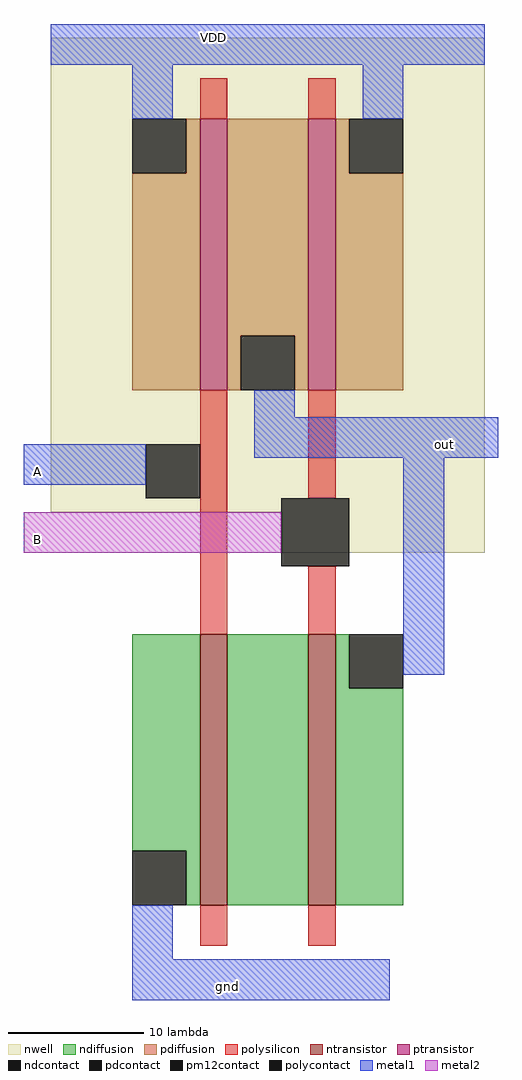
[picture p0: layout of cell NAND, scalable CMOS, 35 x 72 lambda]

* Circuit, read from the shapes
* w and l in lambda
.subckt NAND A B VDD gnd out
M1 n1 A gnd VSUBS nfet w=20 l=2
M2 out B n1 VSUBS nfet w=20 l=2
M3 out A VDD n2 pfet w=20 l=2
M4 VDD B out n2 pfet w=20 l=2
.ends

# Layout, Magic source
magic
tech scmos
<< nwell >>
rect -4 -14 28 21
rect 13 -17 28 -14
<< ntransistor >>
rect 7 -43 9 -23
rect 15 -43 17 -23
<< ptransistor >>
rect 7 -5 9 15
rect 15 -5 17 15
<< ndiffusion >>
rect 2 -39 7 -23
rect 6 -43 7 -39
rect 9 -43 15 -23
rect 17 -27 18 -23
rect 17 -43 22 -27
<< pdiffusion >>
rect 6 11 7 15
rect 2 -5 7 11
rect 9 -1 15 15
rect 9 -5 10 -1
rect 14 -5 15 -1
rect 17 11 18 15
rect 17 -5 22 11
<< ndcontact >>
rect 2 -43 6 -39
rect 18 -27 22 -23
<< pdcontact >>
rect 2 11 6 15
rect 10 -5 14 -1
rect 18 11 22 15
<< polysilicon >>
rect 7 15 9 18
rect 15 15 17 18
rect 7 -23 9 -5
rect 15 -13 17 -5
rect 15 -23 17 -18
rect 7 -46 9 -43
rect 15 -46 17 -43
<< polycontact >>
rect 3 -13 7 -9
<< metal1 >>
rect -4 19 28 22
rect 2 15 5 19
rect 19 15 22 19
rect 11 -7 14 -5
rect -6 -12 3 -9
rect 11 -10 29 -7
rect 22 -26 25 -10
rect 2 -47 5 -43
rect 2 -50 21 -47
<< pm12contact >>
rect 13 -18 18 -13
<< metal2 >>
rect -6 -17 13 -14
<< labels >>
rlabel metal2 -5 -16 -5 -16 3 B
rlabel metal1 -5 -11 -5 -11 3 A
rlabel metal1 25 -9 25 -9 1 out
rlabel metal1 8 21 8 21 5 VDD
rlabel metal1 9 -49 9 -49 1 gnd
<< end >>
